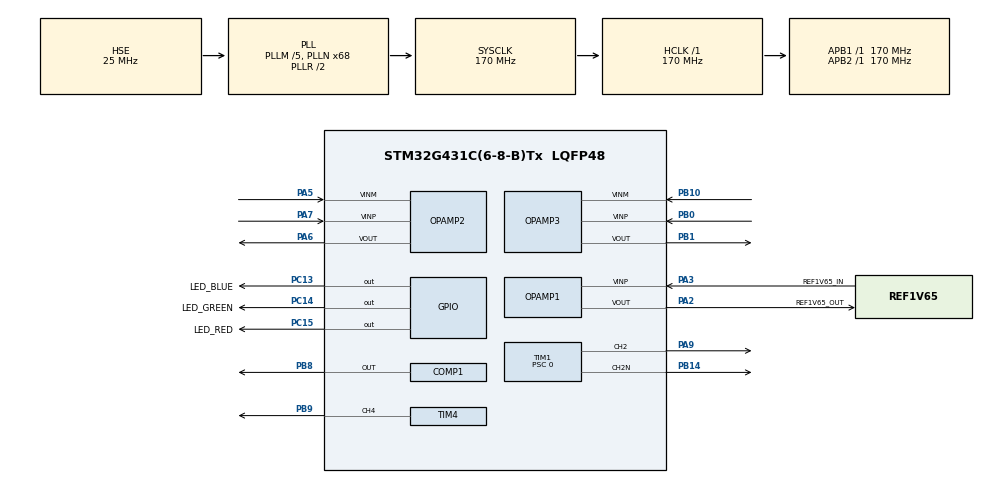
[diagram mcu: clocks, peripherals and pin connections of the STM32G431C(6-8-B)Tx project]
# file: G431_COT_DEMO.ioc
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COMP1.BlankingSrce=COMP_BLANKINGSRC_NONE
COMP1.Hysteresis=COMP_HYSTERESIS_10MV
COMP1.OutputPol=COMP_OUTPUTPOL_NONINVERTED
COMP1.TriggerMode=COMP_TRIGGERMODE_IT_RISING
DAC3.DAC_HighFrequency_OUT1-DAC_OUT1_Int=DAC_HIGH_FREQUENCY_INTERFACE_MODE_ABOVE_80MHZ
DAC3.DAC_SampleAndHold-DAC_OUT1_Int=DAC_SAMPLEANDHOLD_DISABLE
Mcu.Family=STM32G4
Mcu.Name=STM32G431C(6-8-B)Tx
Mcu.Package=LQFP48
NVIC.COMP1_2_3_IRQn=true\:0\:0\:false\:false\:true\:false\:true\:true
NVIC.PriorityGroup=NVIC_PRIORITYGROUP_4
PA13.Mode=Serial_Wire
PA13.Signal=SYS_JTMS-SWDIO
PA14.Mode=Serial_Wire
PA14.Signal=SYS_JTCK-SWCLK
PA2.GPIO_Label=REF1V65_OUT
PA2.Mode=Follower
PA2.Signal=OPAMP1_VOUT
PA3.GPIO_Label=REF1V65_IN
PA3.Mode=Follower
PA3.Signal=OPAMP1_VINP
PA5.Mode=Standalone
PA5.Signal=OPAMP2_VINM
PA6.Mode=Standalone
PA6.Signal=OPAMP2_VOUT
PA7.Mode=Standalone
PA7.Signal=OPAMP2_VINP
PA9.Signal=S_TIM1_CH2
PB0.Mode=Standalone
PB0.Signal=OPAMP3_VINP
PB1.Signal=SharedAnalog_PB1
PB10.Mode=Standalone
PB10.Signal=OPAMP3_VINM
PB14.GPIO_Speed=GPIO_SPEED_FREQ_VERY_HIGH
PB14.Mode=PWM Generation2 CH2 CH2N
PB14.Signal=TIM1_CH2N
PB8-BOOT0.Mode=ExternalOutput
PB8-BOOT0.Signal=COMP1_OUT
PB9.Signal=S_TIM4_CH4
PC13.GPIO_Label=LED_BLUE
PC13.Signal=GPIO_Output
PC14-OSC32_IN.GPIO_Label=LED_GREEN
PC14-OSC32_IN.Signal=GPIO_Output
PC15-OSC32_OUT.GPIO_Label=LED_RED
PC15-OSC32_OUT.Signal=GPIO_Output
PF0-OSC_IN.Mode=HSE-External-Oscillator
PF0-OSC_IN.Signal=RCC_OSC_IN
PF1-OSC_OUT.Mode=HSE-External-Oscillator
PF1-OSC_OUT.Signal=RCC_OSC_OUT
ProjectManager.HeapSize=0x200
ProjectManager.StackSize=0x400
ProjectManager.TargetToolchain=Makefile
RCC.ADC12CLockSelection=RCC_ADC12CLKSOURCE_PLL
RCC.ADC12Freq_Value=42500000
RCC.AHBFreq_Value=170000000
RCC.APB1Freq_Value=170000000
RCC.APB1TimFreq_Value=170000000
RCC.APB2Freq_Value=170000000
RCC.APB2TimFreq_Value=170000000
RCC.CortexFreq_Value=170000000
RCC.EXTERNAL_CLOCK_VALUE=12288000
RCC.FDCANCLockSelection=RCC_FDCANCLKSOURCE_PLL
RCC.HCLKFreq_Value=170000000
RCC.HSE_VALUE=25000000
RCC.HSI48_VALUE=48000000
RCC.HSI_VALUE=16000000
RCC.LSE_VALUE=32768
RCC.PLLM=RCC_PLLM_DIV5
RCC.PLLN=68
RCC.PLLP=RCC_PLLP_DIV8
RCC.PLLSourceVirtual=RCC_PLLSOURCE_HSE
RCC.SYSCLKFreq_VALUE=170000000
RCC.SYSCLKSource=RCC_SYSCLKSOURCE_PLLCLK
RCC.USBFreq_Value=170000000
RCC.VCOOutputFreq_Value=340000000
SH.S_TIM1_CH2.0=TIM1_CH2,PWM Generation2 CH2 CH2N
SH.S_TIM4_CH4.0=TIM4_CH4,PWM Generation4 CH4
SH.SharedAnalog_PB1.0=OPAMP3_VOUT,Standalone
SH.SharedAnalog_PB1.1=COMP1_INP,INP
SYS.VoltageScaling=SYSCFG_VREFBUF_VOLTAGE_SCALE1
TIM1.AutoReloadPreload=TIM_AUTORELOAD_PRELOAD_ENABLE
TIM1.Channel-PWM\ Generation2\ CH2\ CH2N=TIM_CHANNEL_2
TIM1.DeadTime=50
TIM1.DeadTimePreload=ENABLE
TIM1.Dithering=Disable
TIM1.Fractionnal_PeriodDither=0
TIM1.Integer_PeriodDither=1699
TIM1.Integer_PulseDither_2=800
TIM1.OCFastMode_PWM-PWM\ Generation2\ CH2\ CH2N=TIM_OCFAST_ENABLE
TIM1.OCMode_PWM-PWM\ Generation2\ CH2\ CH2N=TIM_OCMODE_PWM2
TIM1.PeriodNoDither=800
TIM1.Prescaler=0
TIM1.PulseNoDither_2=1
TIM1.Slave_TriggerPolarity=TIM_TRIGGERPOLARITY_INVERTED
TIM1.TIM_MasterOutputTrigger=TIM_TRGO_RESET
TIM1.TIM_MasterOutputTrigger2=TIM_TRGO2_RESET
TIM2.PeriodNoDither=2000
TIM2.Slave_TriggerPolarity=TIM_TRIGGERPOLARITY_INVERTED
TIM2.TIM_MasterOutputTrigger=TIM_TRGO_UPDATE
TIM4.Channel-PWM\ Generation4\ CH4=TIM_CHANNEL_4
TIM4.OCMode_PWM-PWM\ Generation4\ CH4=TIM_OCMODE_PWM2
TIM4.PeriodNoDither=800
TIM4.PulseNoDither_4=1
TIM4.Slave_TriggerPolarity=TIM_TRIGGERPOLARITY_INVERTED
VP_COMP1_VS_DAC3OUT1.Mode=INM_DAC3OUT1
VP_DAC3_VS_DACI1.Mode=DAC_OUT1_Int
VP_SYS_VS_DBSignals.Mode=DisableDeadBatterySignals
VP_TIM1_VS_ControllerModeTrigger.Mode=Trigger Mode
VP_TIM1_VS_NoETR.Mode=TriggerSource_ETR_Remap_TIM1
VP_TIM1_VS_OPM.Mode=OPM_bit
VP_TIM2_VS_ClockSourceINT.Mode=Internal
VP_TIM2_VS_ControllerModeReset.Mode=Reset Mode
VP_TIM2_VS_NoETR.Mode=TriggerSource_ETR_Remap_TIM2
VP_TIM4_VS_ControllerModeTrigger.Mode=Trigger Mode
VP_TIM4_VS_NoETR.Mode=TriggerSource_ETR_Remap_TIM4
VREF+.Mode=InternalMode
VREF+.Signal=VREFBUF_OUT
board=custom

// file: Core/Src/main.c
/* USER CODE BEGIN Header */
/**
  ******************************************************************************
  * @file           : main.c
  * @brief          : Main program body
  ******************************************************************************
  * @attention
  *
  * Copyright (c) 2025 STMicroelectronics.
  * All rights reserved.
  *
  * This software is licensed under terms that can be found in the LICENSE file
  * in the root directory of this software component.
  * If no LICENSE file comes with this software, it is provided AS-IS.
  *
  ******************************************************************************
  */
/* USER CODE END Header */
#include "main.h"
#include "comp.h"
#include "dac.h"
#include "opamp.h"
#include "tim.h"
#include "gpio.h"

void SystemClock_Config(void);

int main(void)
{

  /* MCU Configuration--------------------------------------------------------*/

  /* Reset of all peripherals, Initializes the Flash interface and the Systick. */
  HAL_Init();

  /* Configure the system clock */
  SystemClock_Config();

  /* Initialize all configured peripherals */
  MX_GPIO_Init();
  MX_TIM1_Init();
  MX_OPAMP1_Init();
  MX_OPAMP2_Init();
  MX_OPAMP3_Init();
  MX_COMP1_Init();
  MX_DAC3_Init();
  MX_TIM2_Init();
  MX_TIM4_Init();
  /* USER CODE BEGIN 2 */

  //运放自校�?
  HAL_OPAMP_SelfCalibrate(&hopamp1);
  HAL_Delay(1);

  HAL_OPAMP_SelfCalibrate(&hopamp2);
  HAL_Delay(1);

  HAL_OPAMP_SelfCalibrate(&hopamp3);
  HAL_Delay(1);

  //启动运放
  HAL_OPAMP_Start(&hopamp1);
  HAL_OPAMP_Start(&hopamp2);
  HAL_OPAMP_Start(&hopamp3);

  HAL_DAC_SetValue(&hdac3, DAC_CHANNEL_1, DAC_ALIGN_12B_R, 1000); //设置DAC输出。
  //这个DAC输出值与输出电压的关系大概是100：1，1000就差不多10V了
  //目前这个DAC值不能随便改，因为他和上管on time以及开关频率有关。
  HAL_DAC_Start(&hdac3, DAC_CHANNEL_1); //启动DAC

  HAL_COMP_Start(&hcomp1); //启动比较器

  HAL_TIM_Base_Start(&htim1); //启动定时器

  //这个是与TIM1上管PWM同步的测试输出。
  HAL_TIM_PWM_Start(&htim4, TIM_CHANNEL_4);

  //半桥PWM的定时器启动
  HAL_TIM_PWM_Start(&htim1, TIM_CHANNEL_2);
  HAL_TIMEx_PWMN_Start(&htim1, TIM_CHANNEL_2);

  //这个是上电启动用的定时器触发源，当比较器被稳定触发后，这个就没用了
  HAL_TIM_Base_Start(&htim2);

  /* USER CODE END 2 */

  /* Infinite loop */
  /* USER CODE BEGIN WHILE */
  while (1)
  {
    LED_BLUE_BLINK;
    HAL_Delay(300);
    /* USER CODE END WHILE */

  }
}

void SystemClock_Config(void)
{
  RCC_OscInitTypeDef RCC_OscInitStruct = {0};
  RCC_ClkInitTypeDef RCC_ClkInitStruct = {0};

  /** Configure the main internal regulator output voltage
  */
  HAL_PWREx_ControlVoltageScaling(PWR_REGULATOR_VOLTAGE_SCALE1_BOOST);

  /** Initializes the RCC Oscillators according to the specified parameters
  * in the RCC_OscInitTypeDef structure.
  */
  RCC_OscInitStruct.OscillatorType = RCC_OSCILLATORTYPE_HSE;
  RCC_OscInitStruct.HSEState = RCC_HSE_ON;
  RCC_OscInitStruct.PLL.PLLState = RCC_PLL_ON;
  RCC_OscInitStruct.PLL.PLLSource = RCC_PLLSOURCE_HSE;
  RCC_OscInitStruct.PLL.PLLM = RCC_PLLM_DIV5;
  RCC_OscInitStruct.PLL.PLLN = 68;
  RCC_OscInitStruct.PLL.PLLP = RCC_PLLP_DIV8;
  RCC_OscInitStruct.PLL.PLLQ = RCC_PLLQ_DIV2;
  RCC_OscInitStruct.PLL.PLLR = RCC_PLLR_DIV2;
  if (HAL_RCC_OscConfig(&RCC_OscInitStruct) != HAL_OK)
  {
    Error_Handler();
  }

  /** Initializes the CPU, AHB and APB buses clocks
  */
  RCC_ClkInitStruct.ClockType = RCC_CLOCKTYPE_HCLK|RCC_CLOCKTYPE_SYSCLK
                              |RCC_CLOCKTYPE_PCLK1|RCC_CLOCKTYPE_PCLK2;
  RCC_ClkInitStruct.SYSCLKSource = RCC_SYSCLKSOURCE_PLLCLK;
  RCC_ClkInitStruct.AHBCLKDivider = RCC_SYSCLK_DIV1;
  RCC_ClkInitStruct.APB1CLKDivider = RCC_HCLK_DIV1;
  RCC_ClkInitStruct.APB2CLKDivider = RCC_HCLK_DIV1;

  if (HAL_RCC_ClockConfig(&RCC_ClkInitStruct, FLASH_LATENCY_4) != HAL_OK)
  {
    Error_Handler();
  }
}

/* USER CODE BEGIN 4 */
uint8_t a=0;
void HAL_COMP_TriggerCallback(COMP_HandleTypeDef *hcomp){
  //比较器中�?

  if(a <= 100){

    a++;
    if(a==100){
      //比较器稳定触发后，把TIM1的触发源改为比较器输出，这样就是真正的COT了
    TIM_SlaveConfigTypeDef sSlaveConfig = {0};
    sSlaveConfig.SlaveMode = TIM_SLAVEMODE_TRIGGER;
    sSlaveConfig.InputTrigger = TIM_TS_ETRF;
    sSlaveConfig.TriggerPolarity = TIM_TRIGGERPOLARITY_INVERTED;
    sSlaveConfig.TriggerPrescaler = TIM_TRIGGERPRESCALER_DIV1;
    sSlaveConfig.TriggerFilter = 0;
    if (HAL_TIM_SlaveConfigSynchro(&htim1, &sSlaveConfig) != HAL_OK)
    {
      Error_Handler();
    }

    LED_GREEN_ON;

    }
  }

}
/* USER CODE END 4 */

void Error_Handler(void)
{
  __disable_irq();
  while (1)
  {
  }
}
